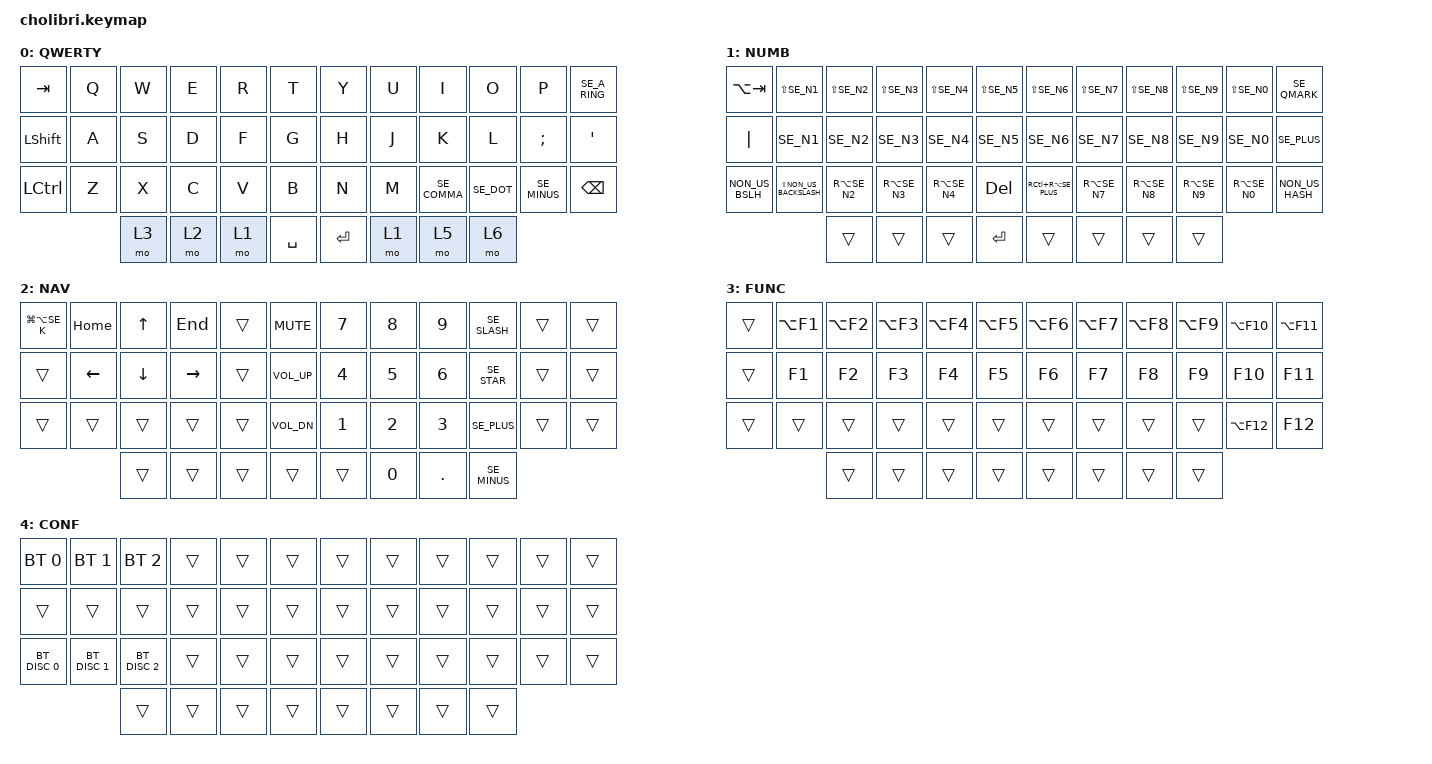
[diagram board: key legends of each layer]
#include "keys_se.h"
#include <behaviors/mouse_keys.dtsi>
#include <behaviors.dtsi>
#include <dt-bindings/zmk/bt.h>
#include <dt-bindings/zmk/keys.h>
#include <dt-bindings/zmk/keys.h>
#include <dt-bindings/zmk/mouse.h>

/ {
    combos {
        compatible = "zmk,combos";

        conf {
            bindings = <&mo 4>;
            key-positions = <38 41>;
        };

        mkp_right {
            bindings = <&mkp RCLK>;
            key-positions = <6 7>;
        };

        mkp_mdl {
            bindings = <&mkp MCLK>;
            key-positions = <18 19>;
        };

        esc {
            bindings = <&kp ESCAPE>;
            key-positions = <0 1>;
        };

        lasso {
            bindings = <&lasso>;
            key-positions = <11 10>;
            layers = <1>;
        };

        lock {
            bindings = <&lock>;
            key-positions = <5 6>;
            layers = <1>;
        };

        bootloader {
            bindings = <&bootloader>;
            key-positions = <6 11>;
        };

        pw1 {
            bindings = <&pas1>;
            key-positions = <5 4 38>;
            layers = <1>;
        };

        pw2 {
            bindings = <&pas2>;
            key-positions = <29 28 38>;
        };

        Win {
            bindings = <&kp LEFT_WIN>;
            key-positions = <36 37>;
        };

        snip_tool {
            bindings = <&snip>;
            key-positions = <17 16>;
        };
    };

    macros {
        lasso: lasso {
            compatible = "zmk,behavior-macro";
            #binding-cells = <0>;
            bindings = <&kp LS(L) &kp A &kp S &kp S &kp O &kp PRCNT>;
            label = "LASSO";
        };

        pas1: pas1 {
            compatible = "zmk,behavior-macro";
            #binding-cells = <0>;
            bindings = <&kp F &kp I &kp K &kp A &kp LS(T) &kp LS(I) &kp LS(L) &kp LS(L) &kp L &kp U &kp N &kp C &kp H &kp N3 &kp N2 &kp N1 &kp N9 &kp EXCL &kp SE_QUESTION>;
            label = "PAS1";
        };

        pas2: pas2 {
            compatible = "zmk,behavior-macro";
            #binding-cells = <0>;
            bindings = <&kp LS(A) &kp LS(S) &kp LS(D) &kp LS(P) &kp O &kp M &kp LS(A) &kp LS(W) &kp LS(D) &kp P &kp O &kp LS(M) &kp LS(A) &kp LS(W) &kp LS(D) &kp PRCNT &kp EXCL>;
            label = "PAS2";
        };

        lock: lock {
            compatible = "zmk,behavior-macro";
            #binding-cells = <0>;
            bindings = <&kt LEFT_WIN &kp SE_L>;
            label = "LOCK";
        };

        snip: snip {
            compatible = "zmk,behavior-macro";
            #binding-cells = <0>;
            bindings = <&kp LS(LG(SE_S))>;
            label = "SNIP";
        };
    };

    keymap {
        compatible = "zmk,keymap";

        QWERTY {
            // --------------------------------------------------------------------------------------------------------------------------------------------------------------------
            // |   ESC   |    Q    |    W    |    E    |    R    |    T    |                                          |    Y    |    U    |    I    |    O    |    P    |    \    |
            // |   TAB   |    A    |    S    |    D    |    F    |    G    |                                          |    H    |    J    |    K    |    L    |    ;    |    '    |
            // |  SHIFT  |    Z    |    X    |    C    |    V    |    B    |                                          |    N    |    M    |    ,    |    .    |    /    |  R CTRL |
            //                               |   GUI   |   DEL   | RETURN  |  SPACE  |                      |  SPACE  |   TAB   |   BSPC  |  R ALT  |

            bindings = <
&kp TAB         &kp Q  &kp W  &kp E  &kp R  &kp T      &kp Y      &kp U  &kp I         &kp O       &kp P         &kp SE_A_RING
&kp LEFT_SHIFT  &kp A  &kp S  &kp D  &kp F  &kp G      &kp H      &kp J  &kp K         &kp L       &kp SEMI      &kp SQT
&kp LCTRL       &kp Z  &kp X  &kp C  &kp V  &kp B      &kp N      &kp M  &kp SE_COMMA  &kp SE_DOT  &kp SE_MINUS  &kp BACKSPACE
                       &mo 3  &mo 2  &mo 1  &kp SPACE  &kp ENTER  &mo 1  &mo 5         &mo 6
            >;

            label = "QWERTY";
        };

        NUM {
            bindings = <
&kp LA(TAB)      &kp LS(SE_N1)             &kp LS(SE_N2)  &kp LS(SE_N3)  &kp LS(SE_N4)  &kp LS(SE_N5)  &kp LS(SE_N6)        &kp LS(SE_N7)  &kp LS(SE_N8)  &kp LS(SE_N9)  &kp LS(SE_N0)  &kp SE_QMARK
&kp PIPE         &kp SE_N1                 &kp SE_N2      &kp SE_N3      &kp SE_N4      &kp SE_N5      &kp SE_N6            &kp SE_N7      &kp SE_N8      &kp SE_N9      &kp SE_N0      &kp SE_PLUS
&kp NON_US_BSLH  &kp LS(NON_US_BACKSLASH)  &kp RA(SE_N2)  &kp RA(SE_N3)  &kp RA(SE_N4)  &kp DELETE     &kp RC(RA(SE_PLUS))  &kp RA(SE_N7)  &kp RA(SE_N8)  &kp RA(SE_N9)  &kp RA(SE_N0)  &kp NON_US_HASH
                                           &trans         &trans         &trans         &kp ENTER      &trans               &trans         &trans         &trans
            >;

            label = "NUMB";
        };

        NAV {
            bindings = <
&kp LG(LA(SE_K))  &kp HOME  &kp UP    &kp END    &trans  &kp C_MUTE    &kp N7  &kp N8  &kp N9   &kp SE_SLASH  &trans  &trans
&trans            &kp LEFT  &kp DOWN  &kp RIGHT  &trans  &kp C_VOL_UP  &kp N4  &kp N5  &kp N6   &kp SE_STAR   &trans  &trans
&trans            &trans    &trans    &trans     &trans  &kp C_VOL_DN  &kp N1  &kp N2  &kp N3   &kp SE_PLUS   &trans  &trans
                            &trans    &trans     &trans  &trans        &trans  &kp N0  &kp DOT  &kp SE_MINUS
            >;

            label = "NAV";
        };

        FUNC {
            bindings = <
&trans  &kp LA(F1)  &kp LA(F2)  &kp LA(F3)  &kp LA(F4)  &kp LA(F5)  &kp LA(F6)  &kp LA(F7)  &kp LA(F8)  &kp LA(F9)  &kp LA(F10)  &kp LA(F11)
&trans  &kp F1      &kp F2      &kp F3      &kp F4      &kp F5      &kp F6      &kp F7      &kp F8      &kp F9      &kp F10      &kp F11
&trans  &trans      &trans      &trans      &trans      &trans      &trans      &trans      &trans      &trans      &kp LA(F12)  &kp F12
                    &trans      &trans      &trans      &trans      &trans      &trans      &trans      &trans
            >;

            label = "FUNC";
        };

        CONF {
            bindings = <
&bt BT_SEL 0   &bt BT_SEL 1   &bt BT_SEL 2   &trans  &trans  &trans  &trans  &trans  &trans  &trans  &trans  &trans
&trans         &trans         &trans         &trans  &trans  &trans  &trans  &trans  &trans  &trans  &trans  &trans
&bt BT_DISC 0  &bt BT_DISC 1  &bt BT_DISC 2  &trans  &trans  &trans  &trans  &trans  &trans  &trans  &trans  &trans
                              &trans         &trans  &trans  &trans  &trans  &trans  &trans  &trans
            >;

            label = "CONF";
        };
    };
};
